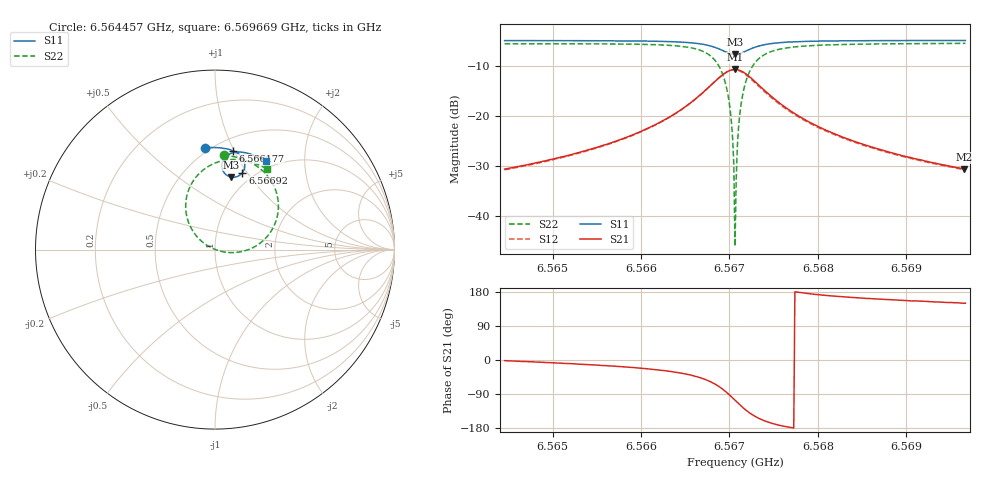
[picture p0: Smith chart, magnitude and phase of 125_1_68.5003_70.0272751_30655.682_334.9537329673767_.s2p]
#  HZ  S  RI  R  50.00
! Rohde & Schwarz Vector Network Analyzer
! Rohde-Schwarz,ZNB20-2Port,1311601062101988,3.16
! Created: UTC 3/20/2024, 4:54:08 PM
! freq[Hz]  re:S11  im:S11  re:S21  im:S21  re:S12  im:S12  re:S22  im:S22
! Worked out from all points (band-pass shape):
!   401 points, 6.564457 GHz to 6.569669 GHz, reference 50 ohm
!   highest |S21| = -10.68 dB at 6.567063 GHz (marker M1); lowest = -30.7 dB at 6.569656 GHz (marker M2)
!   |S21| within 3 dB of the highest: 6.566801 GHz to 6.567324 GHz (522.9 kHz wide, 0.00796 % of centre)
!   lowest |S11| = -7.7 dB at 6.567063 GHz (marker M3), VSWR 2.41, Z = 41.6 + j40.6 ohm
!   |S11| at or under -10 dB: nowhere
!   |S22| runs from -46.1 to -5.4 dB; largest |S21 - S12| = 0.014
!   S11 on the Smith chart (normalised r, x): 6.564457 GHz: 0.47, +0.79; 6.566177 GHz: 0.61, +0.99; 6.56692 GHz: 0.88, +0.95; 6.569669 GHz: 0.90, +1.31
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6.5644573e9  -0.0545 0.5668  0.0293 -0.000891  0.0288 -0.00132  0.0474 0.5263
6.5653303e9  0.0176 0.5678  0.0429 -0.00849  0.0422 -0.0091  0.1323 0.5113
6.5661772e9  0.0985 0.5516  0.0748 -0.036  0.0736 -0.0368  0.2485 0.4536
6.5662033e9  0.1014 0.5504  0.0764 -0.0378  0.0752 -0.0387  0.2534 0.4498
6.5667115e9  0.1614 0.495  0.1123 -0.134  0.1096 -0.1366  0.3526 0.2626
6.5668288e9  0.1657 0.461  0.1009 -0.1933  0.0958 -0.197  0.3362 0.1493
6.56692e9  0.1526 0.4282  0.0608 -0.2493  0.0519 -0.2525  0.2625 0.045
6.5669982e9  0.1224 0.4064  -0.00822 -0.2836  -0.0205 -0.2829  0.1351 -0.0137
6.5670242e9  0.1087 0.4034  -0.037 -0.2868  -0.0498 -0.2838  0.0829 -0.0168
6.5670372e9  0.1017 0.403  -0.0517 -0.2863  -0.0648 -0.2822  0.0563 -0.0143
6.5670633e9  0.0875 0.4046  -0.0812 -0.2808  -0.0937 -0.2745  0.00487 -0.000782
6.5670894e9  0.074 0.4093  -0.109 -0.2695  -0.1204 -0.261  -0.043 0.0227
6.5671024e9  0.0679 0.4129  -0.1217 -0.2622  -0.1324 -0.2526  -0.0643 0.0377
6.5671154e9  0.0623 0.4169  -0.1335 -0.2535  -0.1434 -0.2432  -0.0836 0.0545
6.5671415e9  0.0525 0.4263  -0.1539 -0.2337  -0.1617 -0.2223  -0.1159 0.0921
6.5671936e9  0.0407 0.4484  -0.18 -0.1895  -0.184 -0.1773  -0.1543 0.1734
6.5672588e9  0.0384 0.4756  -0.1901 -0.1363  -0.1901 -0.1254  -0.1621 0.2671
6.5675063e9  0.0766 0.5304  -0.1457 -0.0288  -0.1425 -0.0243  -0.0598 0.4482
6.5679363e9  0.1394 0.5434  -0.0835 0.00879  -0.0814 0.0101  0.0797 0.5012
6.5688093e9  0.2225 0.5242  -0.0404 0.0153  -0.0395 0.0158  0.2108 0.4846
6.5696563e9  0.286 0.4944  -0.0252 0.0148  -0.0249 0.0148  0.2873 0.4505
6.5696693e9  0.2869 0.4938  -0.0253 0.0147  -0.0247 0.0147  0.2883 0.4497
